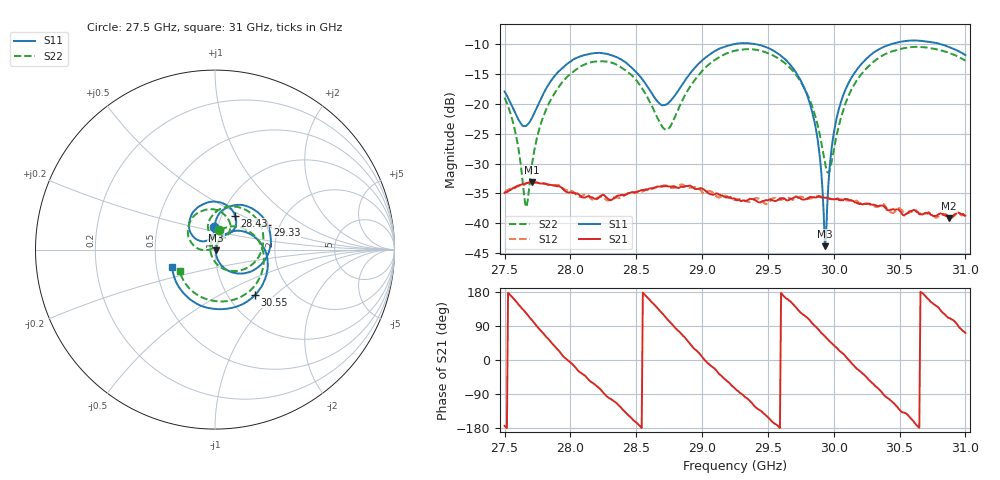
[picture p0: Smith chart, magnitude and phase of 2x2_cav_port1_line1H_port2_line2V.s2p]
!Created with skrf (http://scikit-rf.org).
# GHz S RI R 50.0
!freq ReS11 ImS11 ReS21 ImS21 ReS12 ImS12 ReS22 ImS22
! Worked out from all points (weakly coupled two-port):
!   401 points, 27.5 GHz to 31 GHz, reference 50 ohm
!   highest |S21| = -33.11 dB at 27.71 GHz (marker M1); lowest = -39.1 dB at 30.88 GHz (marker M2)
!   lowest |S11| = -43.8 dB at 29.93 GHz (marker M3), VSWR 1.01, Z = 50.6 - j0.335 ohm
!   |S11| at or under -10 dB: start of sweep to 29.24 GHz; 29.41 GHz to 30.43 GHz (1.021 GHz wide, 3.41 % of centre); 30.82 GHz to end of sweep
!   |S22| runs from -37.3 to -10.4 dB; largest |S21 - S12| = 0.0014
!   S11 on the Smith chart (normalised r, x): 27.5 GHz: 0.95, +0.25; 28.43 GHz: 1.16, +0.46; 29.33 GHz: 1.72, +0.54; 30.55 GHz: 1.33, -0.76; 31 GHz: 0.61, -0.12
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27.5  -0.00752 0.1271  -0.0178 -0.00193  -0.0181 -0.00264  0.0234 0.1106
27.5875  -0.0113 0.0803  -0.0184 0.00876  -0.0181 0.00874  0.0216 0.0495
27.6575  -0.0363 0.0543  -0.0127 0.0173  -0.0129 0.0173  -0.00499 0.0135
27.71  -0.0621 0.0458  -0.00552 0.0214  -0.00518 0.0213  -0.0321 -0.000381
27.85  -0.1303 0.0839  0.0141 0.0156  0.0137 0.0159  -0.1072 0.013
28.08625  -0.099 0.2329  0.0135 -0.0096  0.0141 -0.00927  -0.1387 0.1562
28.4275  0.1125 0.1882  -0.0137 -0.0109  -0.0134 -0.0114  0.0704 0.1745
28.6725  0.0577 0.0838  -0.0137 0.015  -0.0137 0.0148  0.0382 0.0617
28.7425  0.0273 0.0975  -0.00528 0.0197  -0.00489 0.0197  0.00369 0.0616
28.97875  0.0392 0.2167  0.0187 0.00596  0.0186 0.00498  -0.0243 0.1756
29.25  0.2471 0.2  0.00404 -0.0155  0.00467 -0.0151  0.1688 0.2226
29.32875  0.292 0.1396  -0.00232 -0.0152  -0.00237 -0.0151  0.2269 0.1768
29.64375  0.1922 -0.1251  -0.0148 0.0049  -0.0155 0.0048  0.191 -0.0947
29.83625  0.03 -0.0807  -0.00206 0.0164  -0.00239 0.0162  0.0233 -0.0927
29.88875  0.00922 -0.0396  0.00339 0.0164  0.00348 0.0166  -0.00737 -0.0587
29.9325  0.00551 -0.00331  0.00744 0.0146  0.00763 0.0147  -0.0224 -0.0236
29.99375  0.0222 0.046  0.0119 0.0106  0.0119 0.0106  -0.0241 0.0287
30.0725  0.0739 0.0931  0.015 0.00443  0.0152 0.00402  0.00855 0.0886
30.4225  0.2912 -0.1169  -0.00303 -0.0124  -0.00363 -0.012  0.2704 -0.0225
30.545  0.2241 -0.2512  -0.00917 -0.00761  -0.00968 -0.00721  0.2457 -0.1628
30.8775  -0.1737 -0.2443  -0.00383 0.0103  -0.00384 0.0106  -0.1111 -0.2438
31  -0.2382 -0.0963  0.00367 0.011  0.0033 0.0113  -0.1965 -0.1205
